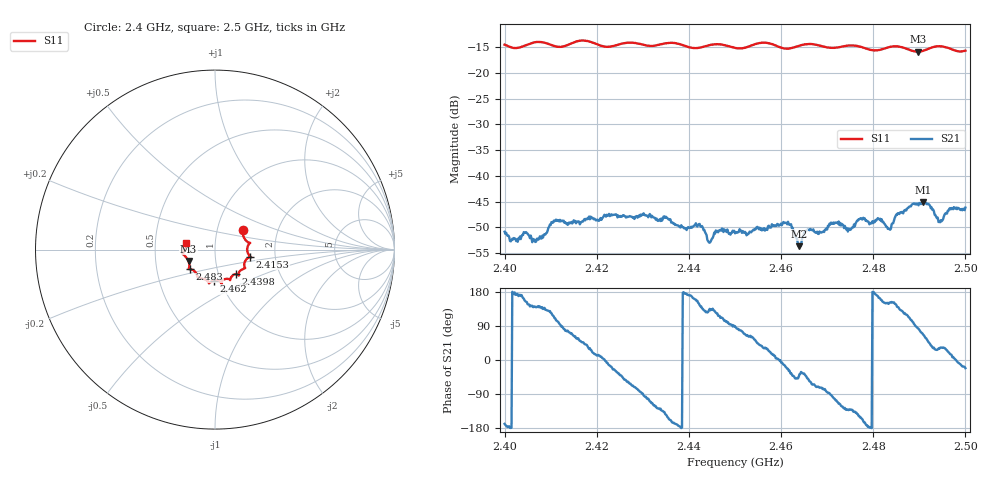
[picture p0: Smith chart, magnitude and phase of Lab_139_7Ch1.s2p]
# Hz S RI R 50
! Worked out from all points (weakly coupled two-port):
!   601 points, 2.4 GHz to 2.5 GHz, reference 50 ohm
!   highest |S21| = -45.05 dB at 2.4908 GHz (marker M1); lowest = -53.7 dB at 2.4638 GHz (marker M2)
!   lowest |S11| = -15.9 dB at 2.4897 GHz (marker M3), VSWR 1.38, Z = 36.9 - j4.82 ohm
!   |S11| at or under -10 dB: start of sweep to end of sweep
!   S12 and S22 are empty: the file has one direction only
!   S11 on the Smith chart (normalised r, x): 2.4 GHz: 1.33, +0.29; 2.4153 GHz: 1.48, -0.12; 2.4398 GHz: 1.21, -0.34; 2.462 GHz: 0.93, -0.33; 2.483 GHz: 0.74, -0.17; 2.5 GHz: 0.72, +0.06
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2.4e9  0.1551 0.1067  -0.00281 -0.000568  0 0  0 0
2.4065e9  0.1947 0.0382  -0.00186 0.00149  0 0  0 0
2.410667e9  0.1823 0.018  -0.00155 0.00333  0 0  0 0
2.415333e9  0.1965 -0.0389  0.00169 0.00324  0 0  0 0
2.416667e9  0.202 -0.043  0.0024 0.00263  0 0  0 0
2.433333e9  0.1311 -0.1337  -0.00224 -0.00289  0 0  0 0
2.439833e9  0.1152 -0.1364  -0.00315 0.000438  0 0  0 0
2.4425e9  0.092 -0.1506  -0.00252 0.002  0 0  0 0
2.4445e9  0.0849 -0.166  -0.00158 0.00159  0 0  0 0
2.446333e9  0.0847 -0.1702  -0.00127 0.00253  0 0  0 0
2.45e9  0.0649 -0.1628  3.3e-05 0.00277  0 0  0 0
2.462e9  -0.00504 -0.1733  0.00274 -0.00191  0 0  0 0
2.463833e9  -0.0257 -0.1815  0.00149 -0.00145  0 0  0 0
2.466667e9  -0.0343 -0.1877  0.00129 -0.00268  0 0  0 0
2.474667e9  -0.0911 -0.1605  -0.00206 -0.00228  0 0  0 0
2.477667e9  -0.0982 -0.1476  -0.00347 -0.00149  0 0  0 0
2.483e9  -0.1376 -0.1093  -0.00277 0.0016  0 0  0 0
2.483333e9  -0.1401 -0.1092  -0.0026 0.00162  0 0  0 0
2.489667e9  -0.1476 -0.0637  0.000574 0.00531  0 0  0 0
2.490833e9  -0.157 -0.0478  0.00219 0.00514  0 0  0 0
2.494667e9  -0.1803 -0.0205  0.00311 0.00203  0 0  0 0
2.5e9  -0.16 0.0393  0.00457 -0.0018  0 0  0 0
